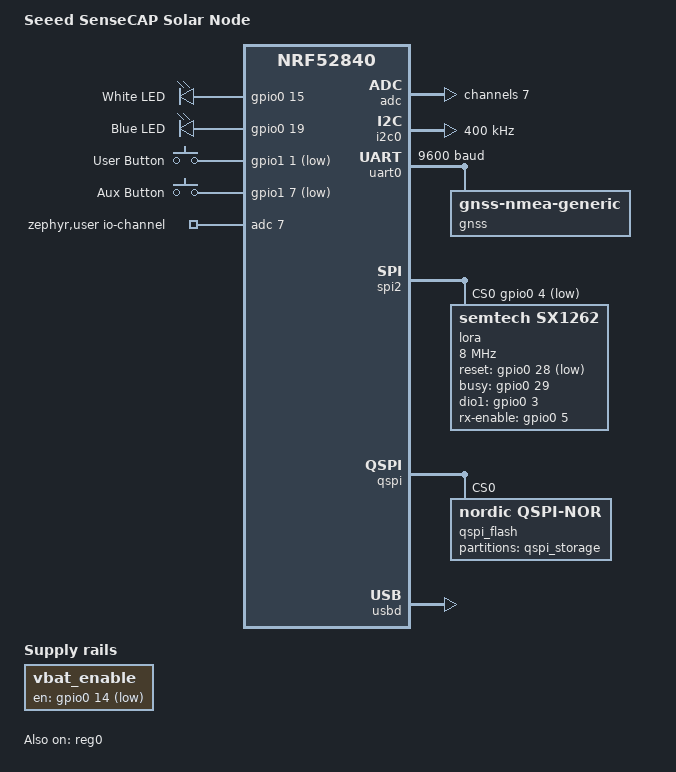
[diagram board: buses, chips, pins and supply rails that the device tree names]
/*
 * Seeed SenseCAP Solar Node (P1 / P1-Pro) — nRF52840 + SX1262
 * SPDX-License-Identifier: Apache-2.0
 *
 * Pin map from MeshCore variants/sensecap_solar (variant.cpp, platformio.ini):
 * - SX1262: CS=P0.04, DIO1=P0.03, RST=P0.28, BUSY=P0.29, RXEN=P0.05,
 *   SPI SCK/MOSI/MISO=P1.13/15/14, DIO2 RF switch, TCXO 1.8V
 * - Quectel L76K GNSS: UART0 9600, TX/RX=P1.11/12, enable=P1.05, reset=P1.03
 * - P25Q16H 2MB QSPI
 * - Battery: AIN7=P0.31, divider enable P0.14 (active low)
 * - Buttons P1.01, P1.07; LEDs white P0.15 (TX activity), blue P0.19
 */

/dts-v1/;
#include <nordic/nrf52840_qiaa.dtsi>
#include <nordic/nrf52840_partition.dtsi>
#include <zephyr/dt-bindings/lora/sx126x.h>
#include <zephyr/dt-bindings/adc/nrf-saadc.h>
#include <zephyr/dt-bindings/input/input-event-codes.h>
#include "sensecap_solar_nrf52840-pinctrl.dtsi"

/delete-node/ &boot_partition;
/delete-node/ &slot0_partition;
/delete-node/ &slot1_partition;
/delete-node/ &storage_partition;

/ {
	model = "Seeed SenseCAP Solar Node";
	compatible = "seeed,sensecap-solar";

	chosen {
		zephyr,code-partition = &code_partition;
		zephyr,console = &cdc_acm_uart;
		zephyr,shell-uart = &cdc_acm_uart;
	};

	leds {
		compatible = "gpio-leds";

		/* MeshCore P_LORA_TX_LED / LED_WHITE */
		white_led: led_0 {
			gpios = <&gpio0 15 GPIO_ACTIVE_HIGH>;
			label = "White LED";
		};

		blue_led: led_1 {
			gpios = <&gpio0 19 GPIO_ACTIVE_HIGH>;
			label = "Blue LED";
		};
	};

	buttons: buttons {
		compatible = "gpio-keys";

		user_button: button_0 {
			gpios = <&gpio1 1 (GPIO_PULL_UP | GPIO_ACTIVE_LOW)>;
			zephyr,code = <INPUT_KEY_0>;
			label = "User Button";
		};

		aux_button: button_1 {
			gpios = <&gpio1 7 (GPIO_PULL_UP | GPIO_ACTIVE_LOW)>;
			zephyr,code = <INPUT_KEY_1>;
			label = "Aux Button";
		};
	};

	user_btn_longpress {
		compatible = "zephyr,input-longpress";
		input = <&buttons>;
		input-codes = <INPUT_KEY_0>;
		short-codes = <INPUT_KEY_A>;
		long-codes = <INPUT_KEY_POWER>;
		long-delay-ms = <1000>;
	};

	user_btn_multitap {
		compatible = "zephcore,input-multi-tap";
		input-codes = <INPUT_KEY_A>;
		tap-codes = <INPUT_KEY_1 INPUT_KEY_B INPUT_KEY_D INPUT_KEY_C INPUT_KEY_E>;
		tap-delay-ms = <400>;
	};

	/* P0.14 LOW enables battery divider (MeshCore SenseCapSolarBoard) */
	vbat_enable: vbat-enable {
		compatible = "regulator-fixed";
		regulator-name = "vbat-enable";
		enable-gpios = <&gpio0 14 GPIO_ACTIVE_LOW>;
	};

	zephyr,user {
		io-channels = <&adc 7>;
		/* Zephyr: ADC_GAIN_1_6 + ADC_REF_INTERNAL = 3600mV full-scale; 1:3 voltage divider → 3600*3 */
		vbat-mv-multiplier = <10800>;
	};

	aliases {
		led0 = &white_led;
		led1 = &blue_led;
		lora-tx-led = &white_led;
		sw0 = &user_button;
		lora0 = &lora;
		watchdog0 = &wdt0;
	};
};

&reg0 {
	status = "okay";
};

&reg1 {
	regulator-initial-mode = <NRF5X_REG_MODE_DCDC>;
};

&adc {
	status = "okay";
	#address-cells = <1>;
	#size-cells = <0>;

	channel@7 {
		reg = <7>;
		zephyr,gain = "ADC_GAIN_1_6";
		zephyr,reference = "ADC_REF_INTERNAL";
		zephyr,acquisition-time = <ADC_ACQ_TIME(ADC_ACQ_TIME_MICROSECONDS, 10)>;
		zephyr,input-positive = <NRF_SAADC_AIN7>;
		zephyr,resolution = <12>;
	};
};

&uicr {
	nfct-pins-as-gpios;
};

&gpiote {
	status = "okay";
};

&gpio0 {
	status = "okay";
};

&gpio1 {
	status = "okay";
};

&i2c0 {
	compatible = "nordic,nrf-twim";
	status = "okay";
	clock-frequency = <I2C_BITRATE_FAST>;
	pinctrl-0 = <&i2c0_default>;
	pinctrl-1 = <&i2c0_sleep>;
	pinctrl-names = "default", "sleep";

	#include "../../common/sensors-i2c.dtsi"
};

&uart0 {
	compatible = "nordic,nrf-uarte";
	status = "okay";
	current-speed = <9600>;
	pinctrl-0 = <&uart0_default>;
	pinctrl-1 = <&uart0_sleep>;
	pinctrl-names = "default", "sleep";

	gnss: gnss {
		compatible = "gnss-nmea-generic";
	};
};

&spi2 {
	compatible = "nordic,nrf-spim";
	status = "okay";
	cs-gpios = <&gpio0 4 GPIO_ACTIVE_LOW>;
	pinctrl-0 = <&spi2_default>;
	pinctrl-1 = <&spi2_sleep>;
	pinctrl-names = "default", "sleep";

	lora: lora@0 {
		compatible = "semtech,sx1262";
		reg = <0>;
		reset-gpios = <&gpio0 28 GPIO_ACTIVE_LOW>;
		busy-gpios = <&gpio0 29 GPIO_ACTIVE_HIGH>;
		dio1-gpios = <&gpio0 3 (GPIO_PULL_DOWN | GPIO_ACTIVE_HIGH)>;
		rx-enable-gpios = <&gpio0 5 GPIO_ACTIVE_HIGH>;
		dio2-tx-enable;
		dio3-tcxo-voltage = <SX126X_DIO3_TCXO_1V8>;
		tcxo-power-startup-delay-ms = <5>;
		spi-max-frequency = <8000000>;
		rx-boosted;
	};
};

&qspi {
	status = "okay";
	pinctrl-0 = <&qspi_default>;
	pinctrl-1 = <&qspi_sleep>;
	pinctrl-names = "default", "sleep";

	qspi_flash: qspi_flash@0 {
		compatible = "nordic,qspi-nor";
		reg = <0>;
		writeoc = "pp";
		readoc = "fastread";
		sck-frequency = <16000000>;
		jedec-id = [85 60 15];
		sfdp-bfp = [
			e5 20 f1 ff  ff ff ff 01  44 eb 08 6b  08 3b 04 bb
			ee ff ff ff  ff ff 00 ff  ff ff 00 ff  0c 20 0f 52
			10 d8 00 ff
		];
		size = <16777216>;
		has-dpd;
		t-enter-dpd = <3000>;
		t-exit-dpd = <50000>;
	};
};

zephyr_udc0: &usbd {
	compatible = "nordic,nrf-usbd";
	status = "okay";

	cdc_acm_uart: cdc_acm_uart {
		compatible = "zephyr,cdc-acm-uart";
	};
};

#include "../../common/nrf52_partitions_sdv7.dtsi"

&qspi_flash {
	partitions {
		compatible = "fixed-partitions";
		#address-cells = <1>;
		#size-cells = <1>;

		qspi_storage_partition: partition@0 {
			label = "qspi_storage";
			reg = <0x00000000 0x00200000>;
		};
	};
};
#include "../../common/nrf52_wakeup.dtsi"
